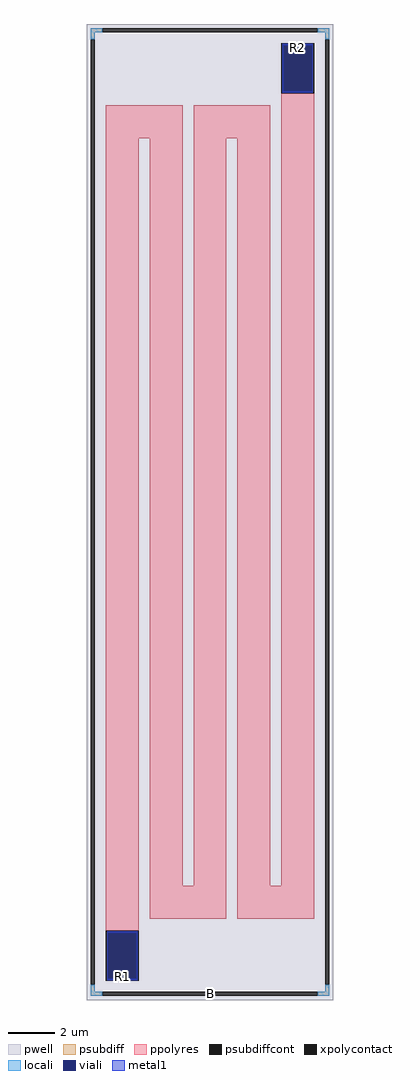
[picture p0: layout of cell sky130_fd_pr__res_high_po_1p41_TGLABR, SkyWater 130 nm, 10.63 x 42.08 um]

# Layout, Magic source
magic
tech sky130A
magscale 1 2
<< pwell >>
rect -1063 -4208 1063 4208
<< psubdiff >>
rect -1027 4138 -931 4172
rect 931 4138 1027 4172
rect -1027 4076 -993 4138
rect 993 4076 1027 4138
rect -1027 -4138 -993 -4076
rect 993 -4138 1027 -4076
rect -1027 -4172 -931 -4138
rect 931 -4172 1027 -4138
<< psubdiffcont >>
rect -931 4138 931 4172
rect -1027 -4076 -993 4076
rect 993 -4076 1027 4076
rect -931 -4172 931 -4138
<< xpolycontact >>
rect 615 3610 897 4042
rect -897 -4042 -615 -3610
<< ppolyres >>
rect -897 3224 -237 3506
rect -897 -3610 -615 3224
rect -519 -3224 -237 3224
rect -141 3224 519 3506
rect -141 -3224 141 3224
rect -519 -3506 141 -3224
rect 237 -3224 519 3224
rect 615 -3224 897 3610
rect 237 -3506 897 -3224
<< locali >>
rect -1027 4138 -931 4172
rect 931 4138 1027 4172
rect -1027 4076 -993 4138
rect 993 4076 1027 4138
rect -1027 -4138 -993 -4076
rect 993 -4138 1027 -4076
rect -1027 -4172 -931 -4138
rect 931 -4172 1027 -4138
<< viali >>
rect 631 3627 881 4024
rect -881 -4024 -631 -3627
<< metal1 >>
rect 625 4024 887 4036
rect 625 3627 631 4024
rect 881 3627 887 4024
rect 625 3615 887 3627
rect -887 -3627 -625 -3615
rect -887 -4024 -881 -3627
rect -631 -4024 -625 -3627
rect -887 -4036 -625 -4024
<< labels >>
rlabel psubdiffcont 0 -4155 0 -4155 0 B
port 1 nsew
rlabel xpolycontact -756 -4007 -756 -4007 0 R1
port 2 nsew
rlabel xpolycontact 756 4007 756 4007 0 R2
port 3 nsew
<< properties >>
string FIXED_BBOX -1010 -4155 1010 4155
string gencell sky130_fd_pr__res_high_po_1p41
string library sky130
string parameters w 1.41 l 35.06 m 1 nx 5 wmin 1.410 lmin 0.50 class resistor rho 319.8 val 41.315k dummy 0 dw 0.0 term 194.82 sterm 0.0 caplen 0 guard 1 glc 1 grc 1 gtc 1 gbc 1 compatible {sky130_fd_pr__res_high_po_0p35  sky130_fd_pr__res_high_po_0p69 sky130_fd_pr__res_high_po_1p41  sky130_fd_pr__res_high_po_2p85 sky130_fd_pr__res_high_po_5p73} snake 1 full_metal 1 wmax 1.410 n_guard 0 hv_guard 0 vias 1 viagb 0 viagt 0 viagl 0 viagr 0 doports 1
<< end >>
